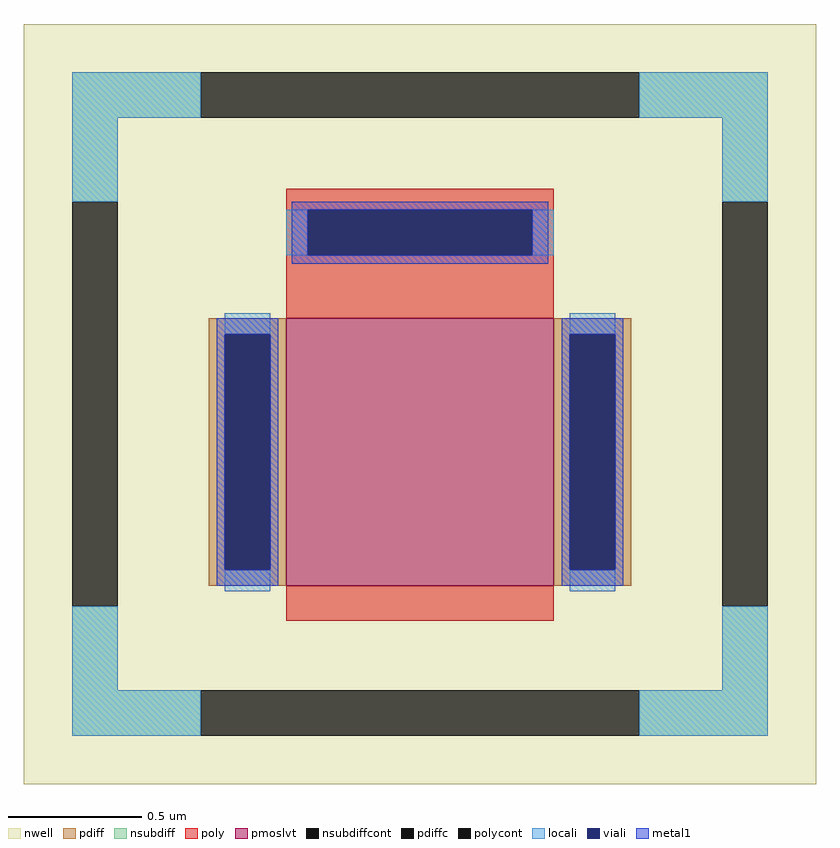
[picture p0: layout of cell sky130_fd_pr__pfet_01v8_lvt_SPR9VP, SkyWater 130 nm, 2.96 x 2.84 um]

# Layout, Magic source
magic
tech sky130A
magscale 1 2
<< nwell >>
rect -296 -284 296 284
<< pmoslvt >>
rect -100 -136 100 64
<< pdiff >>
rect -158 52 -100 64
rect -158 -124 -146 52
rect -112 -124 -100 52
rect -158 -136 -100 -124
rect 100 52 158 64
rect 100 -124 112 52
rect 146 -124 158 52
rect 100 -136 158 -124
<< pdiffc >>
rect -146 -124 -112 52
rect 112 -124 146 52
<< nsubdiff >>
rect -260 214 -164 248
rect 164 214 260 248
rect -260 151 -226 214
rect 226 151 260 214
rect -260 -214 -226 -151
rect 226 -214 260 -151
rect -260 -248 -164 -214
rect 164 -248 260 -214
<< nsubdiffcont >>
rect -164 214 164 248
rect -260 -151 -226 151
rect 226 -151 260 151
rect -164 -248 164 -214
<< poly >>
rect -100 145 100 161
rect -100 111 -84 145
rect 84 111 100 145
rect -100 64 100 111
rect -100 -162 100 -136
<< polycont >>
rect -84 111 84 145
<< locali >>
rect -260 214 -164 248
rect 164 214 260 248
rect -260 151 -226 214
rect 226 151 260 214
rect -100 111 -84 145
rect 84 111 100 145
rect -146 52 -112 68
rect -146 -140 -112 -124
rect 112 52 146 68
rect 112 -140 146 -124
rect -260 -214 -226 -151
rect 226 -214 260 -151
rect -260 -248 -164 -214
rect 164 -248 260 -214
<< viali >>
rect -84 111 84 145
rect -146 -124 -112 52
rect 112 -124 146 52
<< metal1 >>
rect -96 145 96 151
rect -96 111 -84 145
rect 84 111 96 145
rect -96 105 96 111
rect -152 52 -106 64
rect -152 -124 -146 52
rect -112 -124 -106 52
rect -152 -136 -106 -124
rect 106 52 152 64
rect 106 -124 112 52
rect 146 -124 152 52
rect 106 -136 152 -124
<< properties >>
string FIXED_BBOX -243 -231 243 231
string gencell sky130_fd_pr__pfet_01v8_lvt
string library sky130
string parameters w 1.0 l 1.0 m 1 nf 1 diffcov 100 polycov 100 guard 1 glc 1 grc 1 gtc 1 gbc 1 tbcov 100 rlcov 100 topc 1 botc 0 poverlap 0 doverlap 1 lmin 0.35 wmin 0.42 compatible {sky130_fd_pr__pfet_01v8  sky130_fd_pr__pfet_01v8_lvt sky130_fd_pr__pfet_01v8_hvt  sky130_fd_pr__pfet_g5v0d10v5} full_metal 1 viasrc 100 viadrn 100 viagate 100 viagb 0 viagr 0 viagl 0 viagt 0
<< end >>
